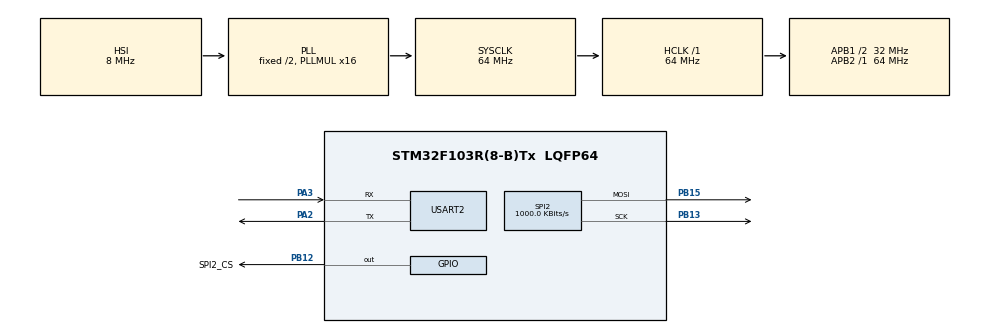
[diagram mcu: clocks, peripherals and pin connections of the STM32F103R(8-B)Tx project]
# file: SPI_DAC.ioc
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Mcu.Family=STM32F1
Mcu.Name=STM32F103R(8-B)Tx
Mcu.Package=LQFP64
NVIC.PriorityGroup=NVIC_PRIORITYGROUP_4
PA13.Mode=Serial_Wire
PA13.Signal=SYS_JTMS-SWDIO
PA14.Mode=Serial_Wire
PA14.Signal=SYS_JTCK-SWCLK
PA2.Mode=Asynchronous
PA2.Signal=USART2_TX
PA3.Mode=Asynchronous
PA3.Signal=USART2_RX
PB12.GPIO_Label=SPI2_CS
PB12.Signal=GPIO_Output
PB13.Mode=TX_Only_Simplex_Unidirect_Master
PB13.Signal=SPI2_SCK
PB15.Mode=TX_Only_Simplex_Unidirect_Master
PB15.Signal=SPI2_MOSI
ProjectManager.HeapSize=0x200
ProjectManager.StackSize=0x400
ProjectManager.TargetToolchain=STM32CubeIDE
RCC.AHBFreq_Value=64000000
RCC.APB1CLKDivider=RCC_HCLK_DIV2
RCC.APB1Freq_Value=32000000
RCC.APB1TimFreq_Value=64000000
RCC.APB2Freq_Value=64000000
RCC.APB2TimFreq_Value=64000000
RCC.HCLKFreq_Value=64000000
RCC.PLLMUL=RCC_PLL_MUL16
RCC.SYSCLKFreq_VALUE=64000000
RCC.SYSCLKSource=RCC_SYSCLKSOURCE_PLLCLK
RCC.USBFreq_Value=64000000
SPI2.BaudRatePrescaler=SPI_BAUDRATEPRESCALER_32
SPI2.CLKPhase=SPI_PHASE_2EDGE
SPI2.CalculateBaudRate=1000.0 KBits/s
SPI2.Direction=SPI_DIRECTION_2LINES
SPI2.Mode=SPI_MODE_MASTER
SPI2.VirtualType=VM_MASTER
USART2.VirtualMode=VM_ASYNC
board=custom

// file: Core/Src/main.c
/* USER CODE BEGIN Header */
/**
  ******************************************************************************
  * @file           : main.c
  * @brief          : Main program body
  ******************************************************************************
  * @attention
  *
  * <h2><center>&copy; Copyright (c) 2020 STMicroelectronics.
  * All rights reserved.</center></h2>
  *
  * This software component is licensed by ST under BSD 3-Clause license,
  * the "License"; You may not use this file except in compliance with the
  * License. You may obtain a copy of the License at:
  *                        opensource.org/licenses/BSD-3-Clause
  *
  ******************************************************************************
  */
/* USER CODE END Header */

#include "main.h"

/* USER CODE BEGIN Includes */
#include <math.h>
/* USER CODE END Includes */

SPI_HandleTypeDef hspi2;

UART_HandleTypeDef huart2;

void SystemClock_Config(void);
static void MX_GPIO_Init(void);
static void MX_SPI2_Init(void);
static void MX_USART2_UART_Init(void);

/* USER CODE BEGIN 0 */

uint8_t
DAC7512_write (unsigned short data)
{
  uint8_t buff[2], ret;

  HAL_GPIO_WritePin (SPI2_CS_GPIO_Port, SPI2_CS_Pin, GPIO_PIN_RESET);

  buff[0] = (uint8_t) (data >> 8);
  buff[1] = (uint8_t) data;

  ret = HAL_SPI_Transmit (&hspi2, buff, 2, 1000);

  if (ret)
    return ret;

  HAL_GPIO_WritePin (SPI2_CS_GPIO_Port, SPI2_CS_Pin, GPIO_PIN_SET);

  return 0;
}
/* USER CODE END 0 */

int main(void)
{

  /* MCU Configuration--------------------------------------------------------*/

  /* Reset of all peripherals, Initializes the Flash interface and the Systick. */
  HAL_Init();

  /* Configure the system clock */
  SystemClock_Config();

  /* Initialize all configured peripherals */
  MX_GPIO_Init();
  MX_SPI2_Init();
  MX_USART2_UART_Init();

  /* Infinite loop */
  /* USER CODE BEGIN WHILE */
  while (1)
  {
      double sinValue;
      for (int i = 0; i < 360; i++)
        {
          sinValue = sin ((M_PI * i) / 180);
          DAC7512_write (2047 + 2047 * sinValue);
        }
    /* USER CODE END WHILE */

  }
}

void SystemClock_Config(void)
{
  RCC_OscInitTypeDef RCC_OscInitStruct = {0};
  RCC_ClkInitTypeDef RCC_ClkInitStruct = {0};

  /** Initializes the CPU, AHB and APB busses clocks
  */
  RCC_OscInitStruct.OscillatorType = RCC_OSCILLATORTYPE_HSI;
  RCC_OscInitStruct.HSIState = RCC_HSI_ON;
  RCC_OscInitStruct.HSICalibrationValue = RCC_HSICALIBRATION_DEFAULT;
  RCC_OscInitStruct.PLL.PLLState = RCC_PLL_ON;
  RCC_OscInitStruct.PLL.PLLSource = RCC_PLLSOURCE_HSI_DIV2;
  RCC_OscInitStruct.PLL.PLLMUL = RCC_PLL_MUL16;
  if (HAL_RCC_OscConfig(&RCC_OscInitStruct) != HAL_OK)
  {
    Error_Handler();
  }
  /** Initializes the CPU, AHB and APB busses clocks
  */
  RCC_ClkInitStruct.ClockType = RCC_CLOCKTYPE_HCLK|RCC_CLOCKTYPE_SYSCLK
                              |RCC_CLOCKTYPE_PCLK1|RCC_CLOCKTYPE_PCLK2;
  RCC_ClkInitStruct.SYSCLKSource = RCC_SYSCLKSOURCE_PLLCLK;
  RCC_ClkInitStruct.AHBCLKDivider = RCC_SYSCLK_DIV1;
  RCC_ClkInitStruct.APB1CLKDivider = RCC_HCLK_DIV2;
  RCC_ClkInitStruct.APB2CLKDivider = RCC_HCLK_DIV1;

  if (HAL_RCC_ClockConfig(&RCC_ClkInitStruct, FLASH_LATENCY_2) != HAL_OK)
  {
    Error_Handler();
  }
}

static void MX_SPI2_Init(void)
{

  /* SPI2 parameter configuration*/
  hspi2.Instance = SPI2;
  hspi2.Init.Mode = SPI_MODE_MASTER;
  hspi2.Init.Direction = SPI_DIRECTION_2LINES;
  hspi2.Init.DataSize = SPI_DATASIZE_8BIT;
  hspi2.Init.CLKPolarity = SPI_POLARITY_LOW;
  hspi2.Init.CLKPhase = SPI_PHASE_2EDGE;
  hspi2.Init.NSS = SPI_NSS_SOFT;
  hspi2.Init.BaudRatePrescaler = SPI_BAUDRATEPRESCALER_32;
  hspi2.Init.FirstBit = SPI_FIRSTBIT_MSB;
  hspi2.Init.TIMode = SPI_TIMODE_DISABLE;
  hspi2.Init.CRCCalculation = SPI_CRCCALCULATION_DISABLE;
  hspi2.Init.CRCPolynomial = 10;
  if (HAL_SPI_Init(&hspi2) != HAL_OK)
  {
    Error_Handler();
  }

}

static void MX_USART2_UART_Init(void)
{

  huart2.Instance = USART2;
  huart2.Init.BaudRate = 115200;
  huart2.Init.WordLength = UART_WORDLENGTH_8B;
  huart2.Init.StopBits = UART_STOPBITS_1;
  huart2.Init.Parity = UART_PARITY_NONE;
  huart2.Init.Mode = UART_MODE_TX_RX;
  huart2.Init.HwFlowCtl = UART_HWCONTROL_NONE;
  huart2.Init.OverSampling = UART_OVERSAMPLING_16;
  if (HAL_UART_Init(&huart2) != HAL_OK)
  {
    Error_Handler();
  }

}

static void MX_GPIO_Init(void)
{
  GPIO_InitTypeDef GPIO_InitStruct = {0};

  /* GPIO Ports Clock Enable */
  __HAL_RCC_GPIOA_CLK_ENABLE();
  __HAL_RCC_GPIOB_CLK_ENABLE();

  /*Configure GPIO pin Output Level */
  HAL_GPIO_WritePin(SPI2_CS_GPIO_Port, SPI2_CS_Pin, GPIO_PIN_RESET);

  /*Configure GPIO pin : SPI2_CS_Pin */
  GPIO_InitStruct.Pin = SPI2_CS_Pin;
  GPIO_InitStruct.Mode = GPIO_MODE_OUTPUT_PP;
  GPIO_InitStruct.Pull = GPIO_NOPULL;
  GPIO_InitStruct.Speed = GPIO_SPEED_FREQ_LOW;
  HAL_GPIO_Init(SPI2_CS_GPIO_Port, &GPIO_InitStruct);

}

void Error_Handler(void)
{
}

/************************ (C) COPYRIGHT STMicroelectronics *****END OF FILE****/
